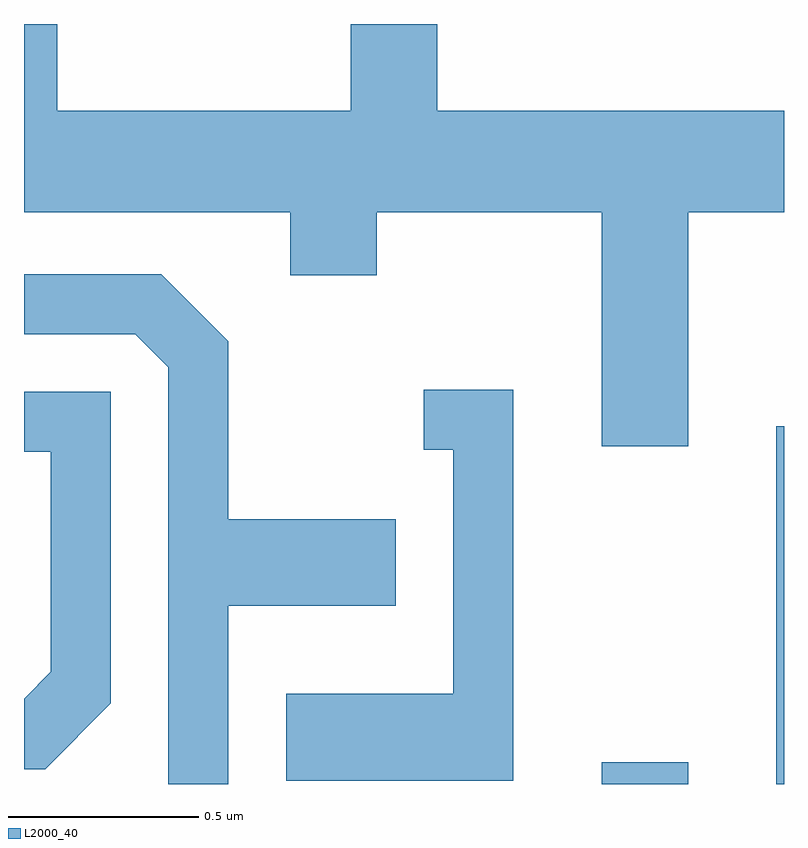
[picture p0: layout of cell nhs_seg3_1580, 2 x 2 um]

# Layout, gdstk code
import gdstk
lib = gdstk.Library(unit=1e-6, precision=1e-09)
def R(c, l, rs):  # rectangles x0, y0, x1, y1
    for r in rs: c.add(gdstk.rectangle(r[:2], r[2:], *l))
def P(c, l, *ps):  # polygons
    for p in ps: c.add(gdstk.Polygon(p, *l))
L2000_40 = (2000, 40)

nhs_seg3_1580 = lib.new_cell('nhs_seg3_1580')
R(nhs_seg3_1580, L2000_40, [(198.131,1188.892,198.359,1188.949), (198.591,1188.892,198.611,1189.834)])
P(nhs_seg3_1580, L2000_40, [(198.359,1190.396),(198.611,1190.396),(198.611,1190.664),(197.699,1190.664),(197.699,1190.892),(197.471,1190.892),(197.471,1190.664),(196.699,1190.664),(196.699,1190.892),(196.611,1190.892),(196.611,1190.396),(197.311,1190.396),(197.311,1190.231),(197.539,1190.231),(197.539,1190.396),(198.131,1190.396),(198.131,1189.781),(198.359,1189.781)],
  [(197.149,1189.361),(197.589,1189.361),(197.589,1189.589),(197.149,1189.589),(197.149,1190.057),(196.972,1190.234),(196.611,1190.234),(196.611,1190.076),(196.904,1190.076),(196.991,1189.989),(196.991,1188.892),(197.149,1188.892)],
  [(197.899,1189.929),(197.663,1189.929),(197.663,1189.771),(197.741,1189.771),(197.741,1189.129),(197.301,1189.129),(197.301,1188.901),(197.899,1188.901)],
  [(196.839,1189.104),(196.839,1189.924),(196.611,1189.924),(196.611,1189.766),(196.681,1189.766),(196.681,1189.187),(196.611,1189.116),(196.611,1188.931),(196.667,1188.931)])

lib.write_gds('nhs_seg3_1580.gds')
